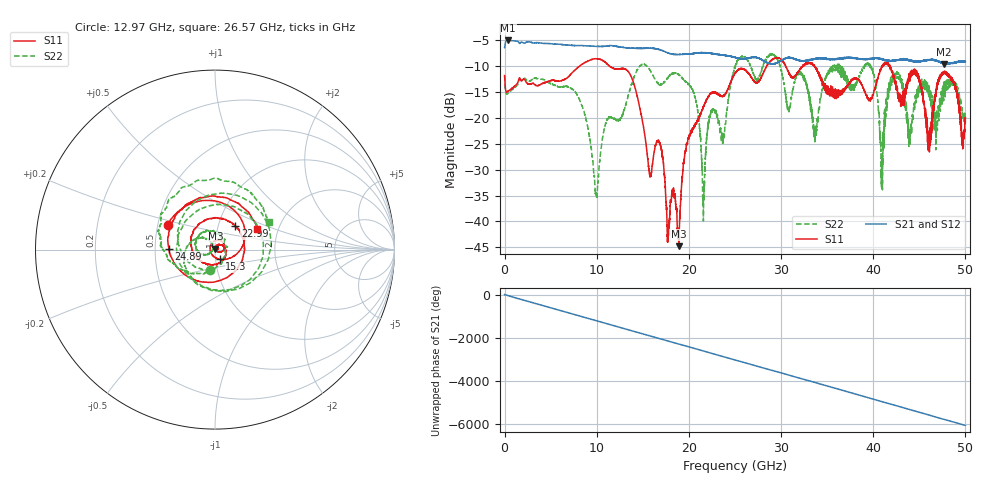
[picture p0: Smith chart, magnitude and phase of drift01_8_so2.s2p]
!Created with skrf (http://scikit-rf.org).
# Hz S RI R 50.0
!freq ReS11 ImS11 ReS21 ImS21 ReS12 ImS12 ReS22 ImS22
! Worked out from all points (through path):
!   10001 points, 300 kHz to 50 GHz, reference 50 ohm
!   highest |S21| = -5.05 dB at 380.3 MHz (marker M1); lowest = -9.7 dB at 47.67 GHz (marker M2)
!   group delay of S21, straight-line fit = 336 ps
!   lowest |S11| = -44.8 dB at 18.92 GHz (marker M3), VSWR 1.01, Z = 50.3 + j0.508 ohm
!   |S11| at or under -10 dB: start of sweep to 8.141 GHz; 11.39 GHz to 28.45 GHz (17.06 GHz wide, 85.6 % of centre); 41.79 GHz to end of sweep (the widest 3 of 13)
!   |S22| runs from -39.9 to -7.6 dB; largest |S21 - S12| = 0.012
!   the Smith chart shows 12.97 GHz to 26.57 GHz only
!   S11 on the Smith chart (normalised r, x): 12.97 GHz: 0.56, +0.17; 15.3 GHz: 1.05, -0.11; 22.99 GHz: 1.21, +0.33; 24.89 GHz: 0.59, +0.01; 26.57 GHz: 1.56, +0.38
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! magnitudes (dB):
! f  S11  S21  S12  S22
! 300 kHz  -11.8  -6.4  -6.5  -11.8
! 380.3 MHz  -14.9  -5.1  -5.1  -15.2
! 8.335 GHz  -9.7  -6.0  -6.0  -17.5
! 9.935 GHz  -8.6  -6.2  -6.2  -34.6
! 12.97 GHz  -10.5  -6.4  -6.4  -18.5
! 15.3 GHz  -24.5  -6.6  -6.6  -9.8
! 16.67 GHz  -24.4  -6.8  -6.8  -13.4
! 17.71 GHz  -43.3  -7.4  -7.4  -12.3
! 18.92 GHz  -44.8  -7.7  -7.7  -11.7
! 20.7 GHz  -21.2  -7.5  -7.5  -16.3
! 21.56 GHz  -17.9  -7.4  -7.4  -37.8
! 22.99 GHz  -15.2  -7.7  -7.7  -19.2
! 24.89 GHz  -11.8  -8.3  -8.3  -10.7
! 25 GHz  -11.4  -8.3  -8.4  -10.3
! 26.57 GHz  -11.7  -8.4  -8.4  -9.5
! 33.34 GHz  -9.5  -8.7  -8.7  -19.5
! 39.49 GHz  -16.4  -8.6  -8.6  -9.9
! 40.94 GHz  -10.0  -8.6  -8.7  -27.1
! 41.67 GHz  -9.8  -8.8  -9.0  -15.0
! 46.1 GHz  -26.6  -8.8  -8.8  -15.0
! 47.67 GHz  -11.2  -9.7  -9.6  -14.7
! 50 GHz  -20.8  -9.1  -9.2  -20.1
